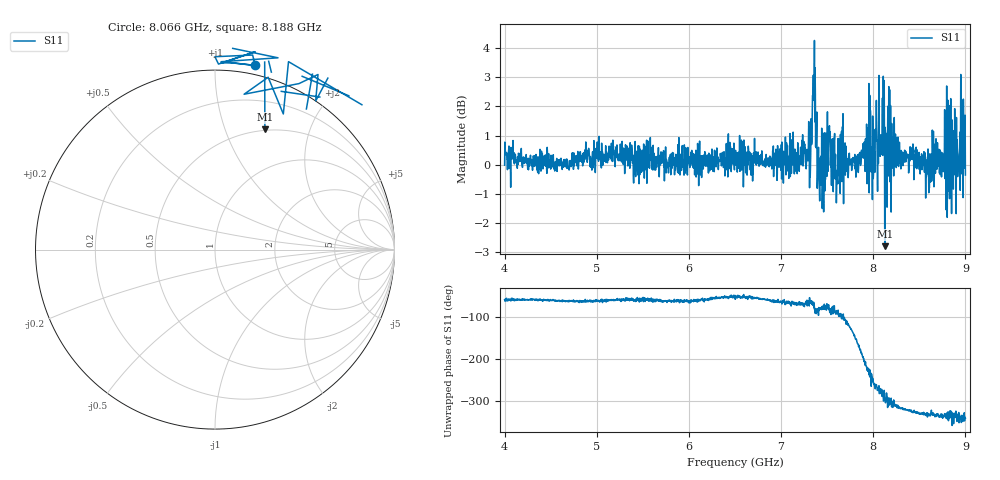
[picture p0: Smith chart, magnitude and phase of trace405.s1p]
! Created with skrf 1.8.0 (http://scikit-rf.org).
# Hz S RI R 50.0
!freq ReS11 ImS11
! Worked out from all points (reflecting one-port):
!   1601 points, 4 GHz to 9 GHz, reference 50 ohm
!   lowest |S11| = -2.8 dB at 8.125 GHz (marker M1), VSWR 6.29, Z = 24.4 + j69.1 ohm
!   phase of S11 starts at -58 deg and turns -283 deg over the sweep
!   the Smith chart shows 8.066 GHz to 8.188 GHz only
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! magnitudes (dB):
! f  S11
! 4 GHz  0.0
! 4.625 GHz  -0.2
! 5.25 GHz  0.1
! 5.875 GHz  0.3
! 6.5 GHz  0.3
! 7.125 GHz  0.0
! 7.294 GHz  0.1
! 7.347 GHz  2.6
! 7.362 GHz  4.3
! 7.4 GHz  0.4
! 7.438 GHz  -0.5
! 7.509 GHz  -0.2
! 7.609 GHz  -0.3
! 7.669 GHz  0.6
! 7.75 GHz  0.1
! 7.947 GHz  -0.5
! 8 GHz  -0.5
! 8.094 GHz  1.0
! 8.125 GHz  -2.8
! 8.15 GHz  -1.5
! 8.178 GHz  2.6
! 8.209 GHz  1.0
! 8.375 GHz  0.3
! 8.594 GHz  0.5
! 8.819 GHz  -0.9
! 8.919 GHz  -0.1
! 8.972 GHz  0.2
! 9 GHz  -0.4
